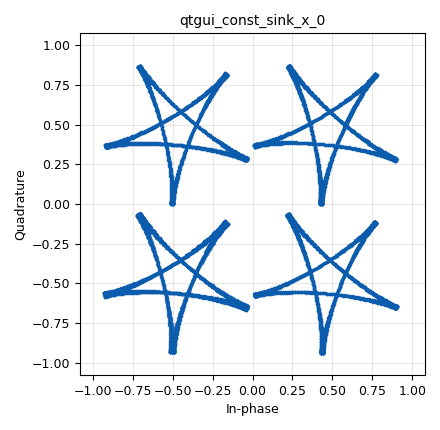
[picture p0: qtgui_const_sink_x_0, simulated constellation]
options:
  parameters:
    generate_options: qt_gui
    id: multihypocycloid
    output_language: python
  states: {}

blocks:
- name: a
  id: variable_qtgui_range
  parameters:
    gui_hint: 0,0
    start: '1'
    step: '1'
    stop: '20'
    value: '5'
  states: {}
- name: b
  id: variable_qtgui_range
  parameters:
    gui_hint: 1,0
    start: '1'
    step: '1'
    stop: '20'
    value: '2'
  states: {}
- name: frequency1
  id: variable
  parameters:
    value: '200'
  states: {}
- name: frequency2
  id: variable
  parameters:
    value: ((a/b) -1)*frequency1+ rotate
  states: {}
- name: rotate
  id: variable_qtgui_range
  parameters:
    gui_hint: 5,0
    start: '0'
    step: '.1'
    stop: '10'
    value: '.1'
  states: {}
- name: samp_rate
  id: variable
  parameters:
    value: '48000'
  states: {}
- name: volume
  id: variable_qtgui_range
  parameters:
    gui_hint: 4,0
    start: '0'
    step: '.1'
    stop: '10'
    value: '.7'
  states: {}
- name: analog_agc_xx_0
  id: analog_agc_xx
  parameters:
    gain: '.01'
    max_gain: '10'
    rate: 1/samp_rate
    reference: volume
    type: complex
  states: {}
- name: analog_const_source_x_0
  id: analog_const_source_x
  parameters:
    const: '0'
    type: float
  states: {state: disabled}
- name: analog_const_source_x_0_0_1
  id: analog_const_source_x
  parameters:
    const: a-b
    type: float
  states: {}
- name: analog_const_source_x_0_0_1_0
  id: analog_const_source_x
  parameters:
    const: b
    type: float
  states: {}
- name: analog_const_source_x_0_0_1_0_0
  id: analog_const_source_x
  parameters:
    const: b
    type: float
  states: {}
- name: analog_const_source_x_0_0_1_1
  id: analog_const_source_x
  parameters:
    const: a-b
    type: float
  states: {}
- name: analog_sig_source_x_0
  id: analog_sig_source_x
  parameters:
    amp: '1'
    freq: frequency1
    offset: '0'
    phase: '0'
    samp_rate: samp_rate
    type: float
    waveform: analog.GR_COS_WAVE
  states: {}
- name: analog_sig_source_x_0_0
  id: analog_sig_source_x
  parameters:
    amp: '1'
    freq: frequency2
    offset: '0'
    phase: '0'
    samp_rate: samp_rate
    type: float
    waveform: analog.GR_COS_WAVE
  states: {}
- name: analog_sig_source_x_0_1
  id: analog_sig_source_x
  parameters:
    amp: '10'
    freq: frequency1/10
    offset: '-5'
    phase: '0'
    samp_rate: samp_rate
    type: float
    waveform: analog.GR_SQR_WAVE
  states: {}
- name: analog_sig_source_x_0_1_0
  id: analog_sig_source_x
  parameters:
    amp: '10'
    freq: frequency1/20
    offset: '-5'
    phase: '0'
    samp_rate: samp_rate
    type: float
    waveform: analog.GR_SQR_WAVE
  states: {}
- name: audio_sink_1
  id: audio_sink
  parameters:
    device_name: surround40:CARD=ICUSBAUDIO7D,DEV=0
    num_inputs: '4'
    samp_rate: samp_rate
  states: {state: disabled}
- name: audio_sink_1_0
  id: audio_sink
  parameters:
    num_inputs: '2'
    samp_rate: samp_rate
  states: {}
- name: blocks_add_xx_0_0_0
  id: blocks_add_xx
  parameters:
    num_inputs: '3'
    type: float
  states: {}
- name: blocks_complex_to_float_0
  id: blocks_complex_to_float
  parameters: {}
  states: {state: disabled}
- name: blocks_complex_to_float_0_0
  id: blocks_complex_to_float
  parameters: {}
  states: {}
- name: blocks_delay_0
  id: blocks_delay
  parameters:
    delay: int((samp_rate/frequency1)/4)
    type: float
  states: {}
- name: blocks_delay_0_0
  id: blocks_delay
  parameters:
    delay: int((samp_rate/frequency2)/4)
    type: float
  states: {}
- name: blocks_float_to_complex_0
  id: blocks_float_to_complex
  parameters: {}
  states: {}
- name: blocks_multiply_xx_0_0_0_1
  id: blocks_multiply_xx
  parameters:
    type: float
  states: {}
- name: blocks_multiply_xx_0_0_0_1_0
  id: blocks_multiply_xx
  parameters:
    type: float
  states: {}
- name: blocks_multiply_xx_0_0_0_1_0_0
  id: blocks_multiply_xx
  parameters:
    type: float
  states: {}
- name: blocks_multiply_xx_0_0_0_1_1
  id: blocks_multiply_xx
  parameters:
    type: float
  states: {}
- name: blocks_sub_xx_0_0
  id: blocks_sub_xx
  parameters:
    num_inputs: '3'
    type: float
  states: {}
- name: blocks_throttle_0
  id: blocks_throttle
  parameters:
    samples_per_second: samp_rate
    type: complex
  states: {}
- name: qtgui_const_sink_x_0
  id: qtgui_const_sink_x
  parameters:
    autoscale: 'True'
    gui_hint: 2,0
    legend: 'False'
    marker1: '-1'
    size: '10000'
    style1: '1'
    type: complex
  states: {}

connections:
- [analog_agc_xx_0, '0', blocks_complex_to_float_0, '0']
- [analog_agc_xx_0, '0', blocks_complex_to_float_0_0, '0']
- [analog_agc_xx_0, '0', blocks_throttle_0, '0']
- [analog_const_source_x_0, '0', audio_sink_1, '0']
- [analog_const_source_x_0, '0', audio_sink_1, '1']
- [analog_const_source_x_0_0_1, '0', blocks_multiply_xx_0_0_0_1, '1']
- [analog_const_source_x_0_0_1_0, '0', blocks_multiply_xx_0_0_0_1_0, '0']
- [analog_const_source_x_0_0_1_0_0, '0', blocks_multiply_xx_0_0_0_1_0_0, '0']
- [analog_const_source_x_0_0_1_1, '0', blocks_multiply_xx_0_0_0_1_1, '1']
- [analog_sig_source_x_0, '0', blocks_delay_0, '0']
- [analog_sig_source_x_0, '0', blocks_multiply_xx_0_0_0_1, '0']
- [analog_sig_source_x_0_0, '0', blocks_delay_0_0, '0']
- [analog_sig_source_x_0_0, '0', blocks_multiply_xx_0_0_0_1_0, '1']
- [analog_sig_source_x_0_1, '0', blocks_add_xx_0_0_0, '0']
- [analog_sig_source_x_0_1_0, '0', blocks_sub_xx_0_0, '2']
- [blocks_add_xx_0_0_0, '0', blocks_float_to_complex_0, '0']
- [blocks_complex_to_float_0, '0', audio_sink_1, '2']
- [blocks_complex_to_float_0, '1', audio_sink_1, '3']
- [blocks_complex_to_float_0_0, '0', audio_sink_1_0, '0']
- [blocks_complex_to_float_0_0, '1', audio_sink_1_0, '1']
- [blocks_delay_0, '0', blocks_multiply_xx_0_0_0_1_1, '0']
- [blocks_delay_0_0, '0', blocks_multiply_xx_0_0_0_1_0_0, '1']
- [blocks_float_to_complex_0, '0', analog_agc_xx_0, '0']
- [blocks_multiply_xx_0_0_0_1, '0', blocks_add_xx_0_0_0, '1']
- [blocks_multiply_xx_0_0_0_1_0, '0', blocks_add_xx_0_0_0, '2']
- [blocks_multiply_xx_0_0_0_1_0_0, '0', blocks_sub_xx_0_0, '1']
- [blocks_multiply_xx_0_0_0_1_1, '0', blocks_sub_xx_0_0, '0']
- [blocks_sub_xx_0_0, '0', blocks_float_to_complex_0, '1']
- [blocks_throttle_0, '0', qtgui_const_sink_x_0, '0']

metadata:
  file_format: 1
